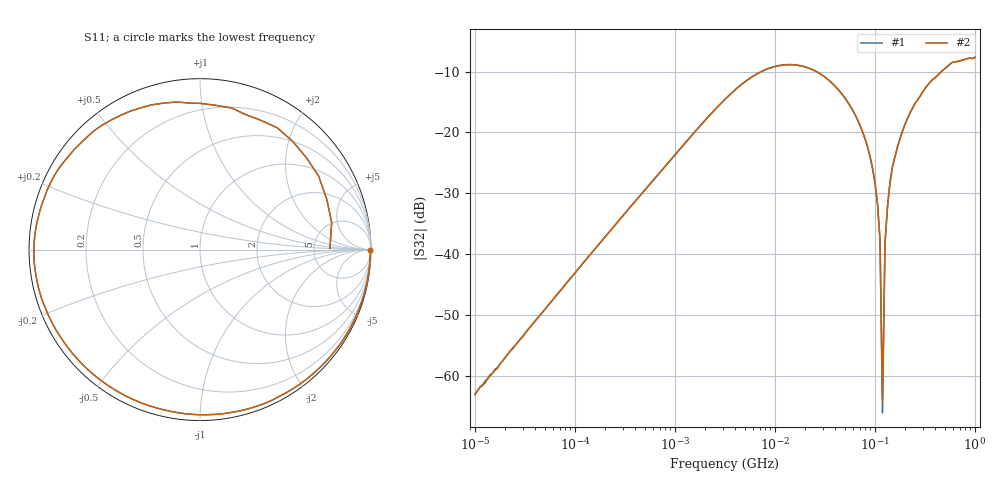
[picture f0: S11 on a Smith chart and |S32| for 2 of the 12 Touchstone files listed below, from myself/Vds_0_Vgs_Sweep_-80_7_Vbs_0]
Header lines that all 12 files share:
!Keysight Technologies,E5080A,MY55100144,A.11.70.03
!Correction: S11(Full 3 Port(1,2,3))
!S12(Full 3 Port(1,2,3))
!S13(Full 3 Port(1,2,3))
!S21(Full 3 Port(1,2,3))
!S22(Full 3 Port(1,2,3))
!S23(Full 3 Port(1,2,3))
!S31(Full 3 Port(1,2,3))
!S32(Full 3 Port(1,2,3))
!S33(Full 3 Port(1,2,3))
!S3P File: Measurements: <S11,S12,S13>,
!<S21,S22,S23>,
!<S31,S32,S33>:Log Frequency Sweep
# Hz S  RI  R 50
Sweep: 10 kHz to 1 GHz
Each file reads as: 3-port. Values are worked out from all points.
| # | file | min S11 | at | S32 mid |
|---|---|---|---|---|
| 1 | 0V0_-5V0_0V0.S3P | -2.4 dB | 1 GHz | -14.6 dB at 3.162 MHz |
| 2 | 0V0_-6V0_0V0.S3P | -2.4 dB | 1 GHz | -14.5 dB at 3.162 MHz |
| 3 | 0V0_-7V0_0V0.S3P | -2.4 dB | 1 GHz | -14.5 dB at 3.162 MHz |
| 4 | 0V0_-8V0_0V0.S3P | -2.4 dB | 1 GHz | -14.5 dB at 3.162 MHz |
| 5 | 0V0_-9V0_0V0.S3P | -2.4 dB | 1 GHz | -14.5 dB at 3.162 MHz |
| 6 | 0V0_-20V0_0V0.S3P | -2.4 dB | 1 GHz | -14.5 dB at 3.162 MHz |
| 7 | 0V0_-30V0_0V0.S3P | -2.4 dB | 1 GHz | -14.5 dB at 3.162 MHz |
| 8 | 0V0_-40V0_0V0.S3P | -2.4 dB | 1 GHz | -14.6 dB at 3.162 MHz |
| 9 | 0V0_-50V0_0V0.S3P | -2.4 dB | 1 GHz | -14.6 dB at 3.162 MHz |
| 10 | 0V0_-60V0_0V0.S3P | -2.4 dB | 1 GHz | -14.6 dB at 3.162 MHz |
| 11 | 0V0_-70V0_0V0.S3P | -2.4 dB | 1 GHz | -14.6 dB at 3.162 MHz |
| 12 | 0V0_-80V0_0V0.S3P | -2.4 dB | 1 GHz | -14.6 dB at 3.162 MHz |
